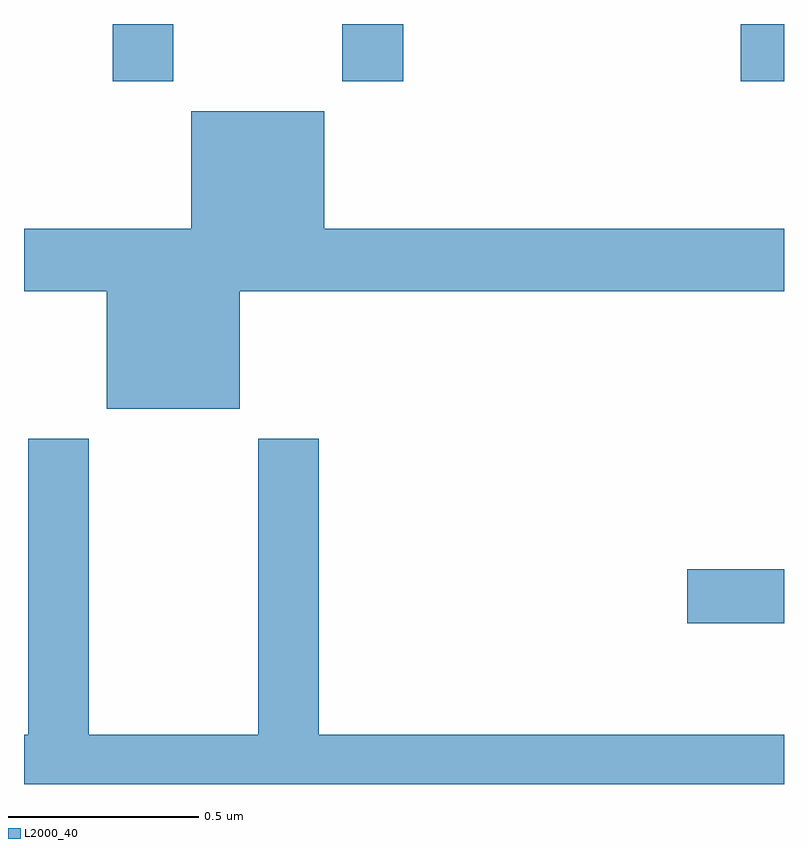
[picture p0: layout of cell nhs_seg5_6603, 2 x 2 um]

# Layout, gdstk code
import gdstk
lib = gdstk.Library(unit=1e-6, precision=1e-09)
def R(c, l, rs):  # rectangles x0, y0, x1, y1
    for r in rs: c.add(gdstk.rectangle(r[:2], r[2:], *l))
def P(c, l, *ps):  # polygons
    for p in ps: c.add(gdstk.Polygon(p, *l))
L2000_40 = (2000, 40)

nhs_seg5_6603 = lib.new_cell('nhs_seg5_6603')
R(nhs_seg5_6603, L2000_40, [(199.746,853.222,200,853.364), (198.233,854.649,198.393,854.799), (198.838,854.649,198.998,854.799), (199.886,854.649,200,854.799)])
P(nhs_seg5_6603, L2000_40, [(198.568,854.096),(200,854.096),(200,854.26),(198.79,854.26),(198.79,854.569),(198.44,854.569),(198.44,854.26),(198,854.26),(198,854.096),(198.218,854.096),(198.218,853.787),(198.568,853.787)],
  [(200,852.928),(198.776,852.928),(198.776,853.708),(198.616,853.708),(198.616,852.928),(198.171,852.928),(198.171,853.708),(198.011,853.708),(198.011,852.928),(198,852.928),(198,852.799),(200,852.799)])

lib.write_gds('nhs_seg5_6603.gds')
